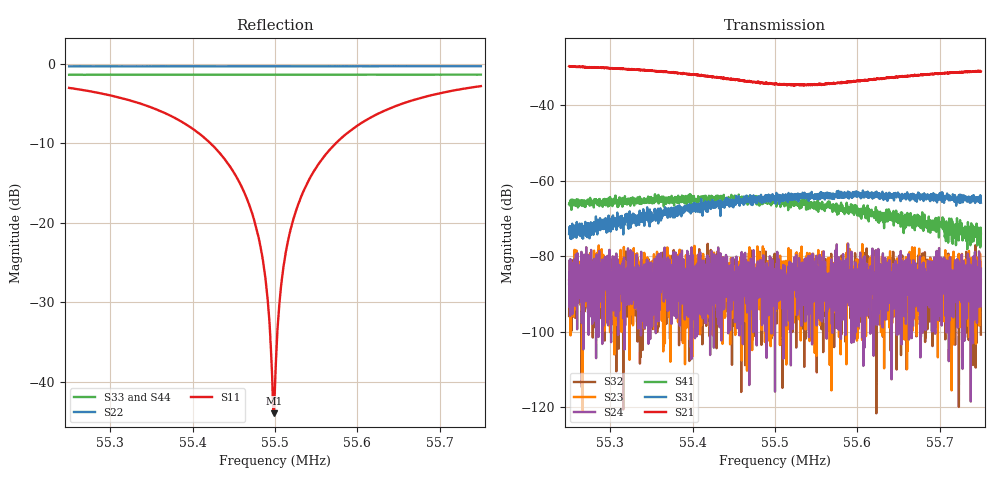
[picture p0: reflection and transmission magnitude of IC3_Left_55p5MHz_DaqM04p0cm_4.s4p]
#  HZ  S  DB  R  50.00
! Rohde & Schwarz Vector Network Analyzer
! Rohde-Schwarz,ZNB8-4Port,1311601044102961,2.82
! Created: UTC 2/13/2019, 9:18:16 AM
! freq[Hz]  db:S11  ang:S11  db:S12  ang:S12  db:S13  ang:S13  db:S14  ang:S14
!  db:S21  ang:S21  db:S22  ang:S22  db:S23  ang:S23  db:S24  ang:S24
!  db:S31  ang:S31  db:S32  ang:S32  db:S33  ang:S33  db:S34  ang:S34
!  db:S41  ang:S41  db:S42  ang:S42  db:S43  ang:S43  db:S44  ang:S44
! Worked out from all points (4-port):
!   2001 points, 55.25 MHz to 55.75 MHz, reference 50 ohm
!   strongest paths, dB at 55.25 MHz, 55.375 MHz, 55.5 MHz, 55.625 MHz, 55.75 MHz:
!     S21: -29.8, -31.4, -34.5, -33.1, -31.2
!     S31: -74.1, -68.4, -64.3, -63.6, -65.8
!     S41: -66.2, -65.9, -64.1, -69.6, -74.0
!     S24: -87.3, -88.6, -115.8, -91.8, -83.4
!     S23: -86.2, -84.7, -91.0, -83.4, -86.2
!     S32: -95.8, -92.5, -89.7, -88.5, -100.7
!   lowest |S11| = -44.0 dB at 55.4985 MHz (marker M1), VSWR 1.01, Z = 50.3 + j0.53 ohm
!   |S11| at or under -10 dB: 55.4215 MHz to 55.57397 MHz (152.5 kHz wide, 0.275 % of centre)
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5.525e7  -3.04 -147.8  -29.81 67.1  -72.89 -11.7  -66.27 -167.1
         -29.79 66.5  -0.33 94.2  -86.16 -148.0  -87.33 24.6
         -74.11 -2.1  -95.82 92.6  -1.39 34.9  -91.18 -151.5
         -66.19 -169.5  -83.76 112.8  -89.99 -19.6  -1.38 28.5
5.544575e7  -12.98 164.5  -33.25 56.9  -65.68 -46.3  -65.23 160.6
            -33.28 57.0  -0.32 90.6  -95.71 -86.4  -86.08 -43.1
            -66.28 -33.4  -83.64 -124.4  -1.38 32.6  -81.89 -137.0
            -64.79 158.2  -90.97 -30.8  -81.00 35.2  -1.37 26.1
5.548225e7  -22.96 149.2  -34.11 61.0  -63.72 -54.7  -65.73 146.8
            -34.35 60.3  -0.33 90.0  -93.00 98.1  -82.78 -98.7
            -65.03 -47.6  -94.12 -124.8  -1.38 32.1  -92.88 -44.0
            -65.11 148.3  -85.52 16.7  -91.28 51.6  -1.37 25.6
5.54985e7  -43.99 56.4  -34.44 64.6  -64.29 -49.3  -65.55 143.1
           -34.55 64.2  -0.33 89.7  -88.49 -153.5  -87.93 9.7
           -64.99 -54.6  -88.92 -0.1  -1.38 31.9  -83.71 -2.1
           -64.69 145.2  -89.37 -139.7  -98.65 -134.0  -1.38 25.5
5.55155e7  -22.43 -31.8  -34.65 67.0  -64.19 -65.0  -66.21 145.7
           -34.67 68.2  -0.32 89.4  -81.08 151.1  -85.55 -76.6
           -65.75 -56.6  -83.24 81.6  -1.38 31.7  -84.31 -40.1
           -66.39 134.9  -105.33 -34.8  -89.27 -118.9  -1.38 25.2
5.555325e7  -12.56 -47.5  -34.43 75.5  -64.55 -76.6  -67.56 132.2
            -34.54 76.5  -0.32 88.7  -85.86 176.5  -83.09 -142.9
            -63.79 -79.1  -81.64 -115.4  -1.38 31.3  -88.92 119.3
            -66.08 126.8  -93.22 31.9  -89.42 59.7  -1.37 24.8
5.575e7  -2.82 -97.1  -31.00 80.7  -64.83 -109.1  -73.83 88.3
         -31.16 82.3  -0.32 85.1  -86.24 -129.6  -83.36 -118.6
         -65.85 -110.3  -100.72 116.5  -1.38 28.9  -82.42 128.1
         -73.99 95.0  -91.08 -54.9  -96.31 140.2  -1.37 22.4
